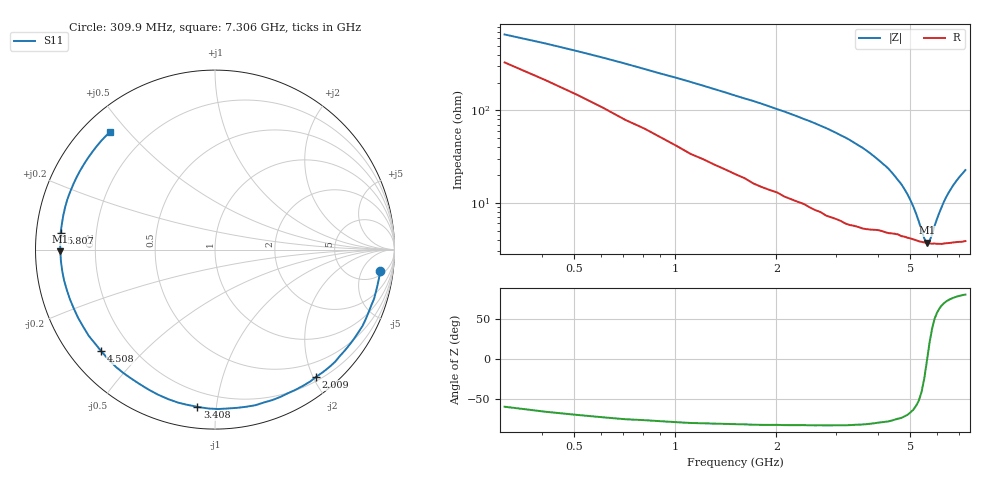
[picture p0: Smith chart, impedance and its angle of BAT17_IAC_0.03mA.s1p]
! Infineon Technologies  Discrete & RF Semiconductors
! BAT17
! IAC = 0.03 mA
! One-Port S-Parameters
# Hz  S  MA  R  50
!f  S11
!Hz  Mag  Ang
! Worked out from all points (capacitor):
!   71 points, 309.9 MHz to 7.306 GHz, reference 50 ohm
!   read as one part to ground: C = 796 fF near 309.9 MHz
!   lowest |Z| = 3.72 ohm at 5.607 GHz (marker M1)
!   series resonance near 5.624 GHz, so ESL is about 1 nH
!   S11 on the Smith chart (normalised r, x): 309.9 MHz: 7, -11; 2.009 GHz: 0.26, -2.05; 3.408 GHz: 0.11, -0.89; 4.508 GHz: 0.09, -0.38; 5.807 GHz: 0.07, +0.05; 7.306 GHz: 0.08, +0.45
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3.0985e8  0.9278 -7.5
7.0965e8  0.9276 -17.2
1.0095e9  0.9249 -24.7
1.2094e9  0.9223 -29.9
1.70915e9  0.9157 -43.0
2.009e9  0.9056 -51.5
2.10895e9  0.9064 -54.2
2.6087e9  0.8971 -69.2
2.8086e9  0.8957 -75.5
3.0085e9  0.89 -82.2
3.2084e9  0.8885 -88.9
3.4083e9  0.8814 -96.4
3.6082e9  0.877 -103.5
3.8081e9  0.8683 -111.4
4.10795e9  0.8566 -123.1
4.30785e9  0.8557 -130.2
4.50775e9  0.8499 -138.4
4.70765e9  0.8519 -145.6
5.0075e9  0.8525 -157.3
5.2074e9  0.8558 -164.9
5.4073e9  0.8596 -172.2
5.6072e9  0.8617 -179.4
5.8071e9  0.8652 173.9
5.90705e9  0.865 170.3
6.2069e9  0.8688 161.2
6.50675e9  0.8701 152.2
6.90655e9  0.8736 141.5
7.30635e9  0.8789 131.7
